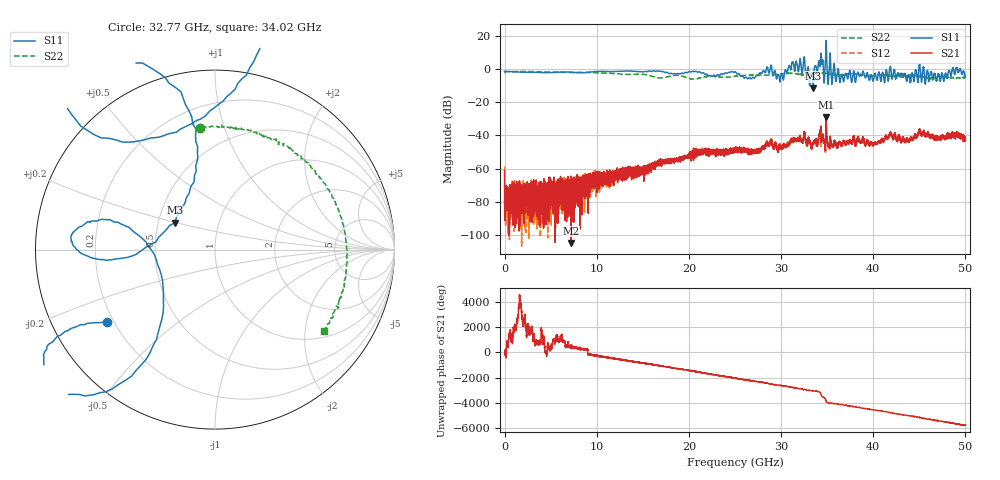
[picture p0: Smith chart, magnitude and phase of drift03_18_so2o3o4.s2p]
!Created with skrf (http://scikit-rf.org).
# Hz S RI R 50.0
!freq ReS11 ImS11 ReS21 ImS21 ReS12 ImS12 ReS22 ImS22
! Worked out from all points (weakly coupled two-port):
!   10001 points, 300 kHz to 50 GHz, reference 50 ohm
!   highest |S21| = -29.15 dB at 34.89 GHz (marker M1); lowest = -105.0 dB at 7.21 GHz (marker M2)
!   lowest |S11| = -11.4 dB at 33.47 GHz (marker M3), VSWR 1.73, Z = 30.6 + j9.89 ohm
!   |S11| at or under -10 dB: 33.44658 GHz to 33.48672 GHz (40.14 MHz wide, 0.12 % of centre)
!   |S22| runs from -5.9 to -1.3 dB; largest |S21 - S12| = 0.0085
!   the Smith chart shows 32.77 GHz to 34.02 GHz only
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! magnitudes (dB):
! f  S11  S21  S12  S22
! 300 kHz  -1.3  -61.1  -58.8  -2.0
! 255.3 MHz  -1.3  -78.8  -73.3  -1.4
! 435.3 MHz  -1.4  -80.6  -74.0  -1.4
! 7.21 GHz  -1.8  -105.0  -81.6  -2.0
! 8.335 GHz  -2.2  -66.3  -72.5  -1.9
! 16.67 GHz  -1.1  -57.0  -58.0  -5.2
! 25 GHz  -1.5  -49.0  -48.1  -4.3
! 26.92 GHz  -4.9  -49.4  -48.8  -3.6
! 28.73 GHz  -2.2  -46.0  -45.7  -3.5
! 30.06 GHz  -2.5  -48.5  -47.7  -2.8
! 31.87 GHz  -1.5  -42.0  -42.2  -2.9
! 33.34 GHz  -2.2  -47.3  -47.2  -2.9
! 33.47 GHz  -11.4  -45.1  -44.5  -2.8
! 34.3 GHz  7.0  -36.0  -35.3  -2.3
! 34.89 GHz  17.3  -29.2  -31.6  -2.3
! 36.58 GHz  -3.4  -45.6  -45.7  -3.5
! 40.18 GHz  -2.5  -44.6  -44.3  -3.7
! 41.67 GHz  -5.7  -40.8  -40.8  -3.7
! 45.2 GHz  -6.2  -38.9  -39.0  -4.5
! 47.07 GHz  -3.1  -42.3  -41.9  -5.1
! 49.21 GHz  -1.7  -40.8  -40.4  -5.2
! 50 GHz  -4.5  -43.0  -42.1  -5.0
